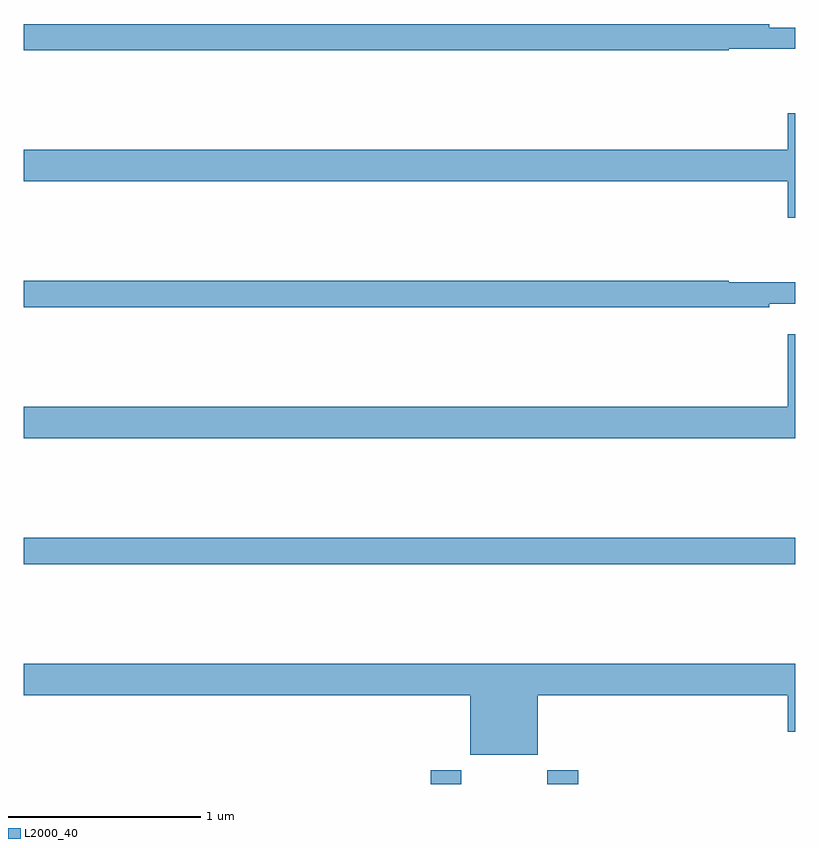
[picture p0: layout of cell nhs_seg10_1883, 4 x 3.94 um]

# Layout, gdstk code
import gdstk
lib = gdstk.Library(unit=1e-6, precision=1e-09)
def R(c, l, rs):  # rectangles x0, y0, x1, y1
    for r in rs: c.add(gdstk.rectangle(r[:2], r[2:], *l))
def P(c, l, *ps):  # polygons
    for p in ps: c.add(gdstk.Polygon(p, *l))
L2000_40 = (2000, 40)

nhs_seg10_1883 = lib.new_cell('nhs_seg10_1883')
R(nhs_seg10_1883, L2000_40, [(211.109,1322.5,211.269,1322.572), (211.714,1322.5,211.874,1322.572), (209,1323.64,213,1323.776)])
P(nhs_seg10_1883, L2000_40, [(212.655,1326.312),(213,1326.312),(213,1326.421),(212.864,1326.421),(212.864,1326.44),(209,1326.44),(209,1326.304),(212.655,1326.304)],
  [(213,1325.977),(212.96,1325.977),(212.96,1325.788),(209,1325.788),(209,1325.624),(212.96,1325.624),(212.96,1325.436),(213,1325.436)],
  [(212.864,1324.991),(213,1324.991),(213,1325.101),(212.655,1325.101),(212.655,1325.108),(209,1325.108),(209,1324.972),(212.864,1324.972)],
  [(213,1324.831),(212.96,1324.831),(212.96,1324.456),(209,1324.456),(209,1324.292),(213,1324.292)],
  [(211.666,1322.96),(212.96,1322.96),(212.96,1322.772),(213,1322.772),(213,1323.124),(209,1323.124),(209,1322.96),(211.316,1322.96),(211.316,1322.651),(211.666,1322.651)])

lib.write_gds('nhs_seg10_1883.gds')
